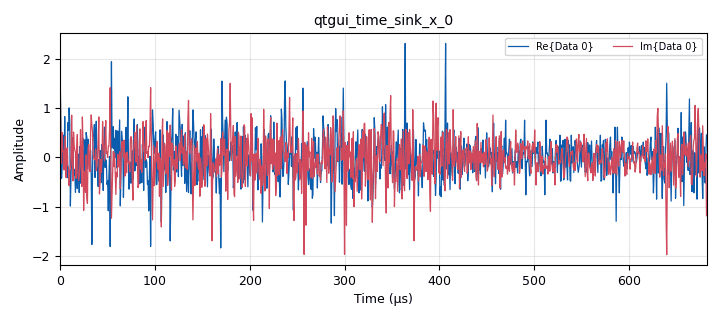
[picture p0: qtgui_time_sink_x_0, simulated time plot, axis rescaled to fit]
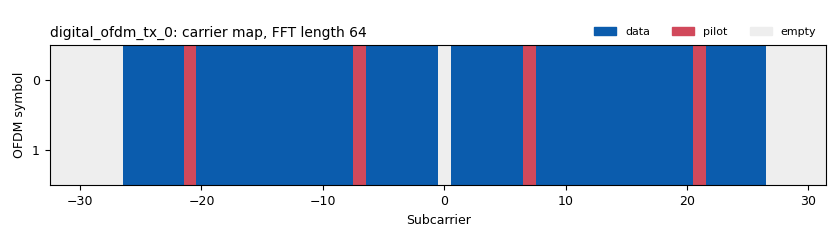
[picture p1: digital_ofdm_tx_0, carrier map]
<?xml version='1.0' encoding='utf-8'?>
<?grc format='1' created='3.7.9'?>
<flow_graph>
<block>
<key>options</key>
<param><key>id</key><value>full_duplex_ofdm</value></param>
<param><key>category</key><value>Custom</value></param>
<param><key>generate_options</key><value>qt_gui</value></param>
</block>
<block>
<key>variable_qtgui_range</key>
<param><key>id</key><value>atten</value></param>
<param><key>value</key><value>10</value></param>
<param><key>gui_hint</key><value>tab@1</value></param>
<param><key>orient</key><value>Qt.Horizontal</value></param>
<param><key>start</key><value>0</value></param>
<param><key>step</key><value>1</value></param>
<param><key>stop</key><value>30</value></param>
</block>
<block>
<key>variable_qtgui_range</key>
<param><key>id</key><value>bb_gain</value></param>
<param><key>value</key><value>0</value></param>
<param><key>gui_hint</key><value>tab@1</value></param>
<param><key>orient</key><value>Qt.Horizontal</value></param>
<param><key>start</key><value>0</value></param>
<param><key>step</key><value>1</value></param>
<param><key>stop</key><value>30</value></param>
</block>
<block>
<key>variable_qtgui_range</key>
<param><key>id</key><value>bw</value></param>
<param><key>value</key><value>1500000</value></param>
<param><key>gui_hint</key><value>tab@0</value></param>
<param><key>orient</key><value>Qt.Horizontal</value></param>
<param><key>start</key><value>100000</value></param>
<param><key>step</key><value>100000</value></param>
<param><key>stop</key><value>5000000</value></param>
<param><key>rangeType</key><value>int</value></param>
</block>
<block>
<key>variable</key>
<param><key>id</key><value>fft_len</value></param>
<param><key>value</key><value>64</value></param>
</block>
<block>
<key>variable_qtgui_chooser</key>
<param><key>id</key><value>freq</value></param>
<param><key>value</key><value>440000000</value></param>
<param><key>_enabled</key><value>0</value></param>
<param><key>label0</key><value>440M</value></param>
<param><key>label1</key><value>915M</value></param>
<param><key>label2</key><value>1.5G</value></param>
<param><key>label3</key><value>2.45G</value></param>
<param><key>num_opts</key><value>4</value></param>
<param><key>option0</key><value>440000000</value></param>
<param><key>option1</key><value>915000000</value></param>
<param><key>option2</key><value>1500000000</value></param>
<param><key>option3</key><value>2450000000</value></param>
<param><key>orient</key><value>Qt.QHBoxLayout</value></param>
<param><key>type</key><value>int</value></param>
<param><key>widget</key><value>radio_buttons</value></param>
</block>
<block>
<key>variable_qtgui_range</key>
<param><key>id</key><value>freq_1</value></param>
<param><key>value</key><value>440000000</value></param>
<param><key>gui_hint</key><value>tab@0</value></param>
<param><key>orient</key><value>Qt.Horizontal</value></param>
<param><key>start</key><value>300000000</value></param>
<param><key>step</key><value>10000000</value></param>
<param><key>stop</key><value>2500000000</value></param>
</block>
<block>
<key>variable_qtgui_range</key>
<param><key>id</key><value>freq_2</value></param>
<param><key>value</key><value>500000000</value></param>
<param><key>gui_hint</key><value>tab@0</value></param>
<param><key>orient</key><value>Qt.Horizontal</value></param>
<param><key>start</key><value>300000000</value></param>
<param><key>step</key><value>10000000</value></param>
<param><key>stop</key><value>2500000000</value></param>
</block>
<block>
<key>variable_qtgui_range</key>
<param><key>id</key><value>freq_offset</value></param>
<param><key>value</key><value>0</value></param>
<param><key>gui_hint</key><value>tab@0</value></param>
<param><key>orient</key><value>Qt.Horizontal</value></param>
<param><key>start</key><value>-5e3</value></param>
<param><key>step</key><value>100</value></param>
<param><key>stop</key><value>5e3</value></param>
</block>
<block>
<key>variable</key>
<param><key>id</key><value>header_equalizer</value></param>
<param><key>value</key><value>digital.ofdm_equalizer_simpledfe(fft_len, header_mod.base(), occupied_carriers, pilot_carriers, pilot_symbols)</value></param>
</block>
<block>
<key>variable</key>
<param><key>id</key><value>header_formatter</value></param>
<param><key>value</key><value>digital.packet_header_ofdm(occupied_carriers, n_syms=1, len_tag_key=packet_length_tag_key, frame_len_tag_key=length_tag_key, bits_per_header_sym=header_mod.bits_per_symbol(), bits_per_payload_sym=payload_mod.bits_per_symbol(), scramble_header=False)</value></param>
</block>
<block>
<key>variable</key>
<param><key>id</key><value>header_mod</value></param>
<param><key>value</key><value>digital.constellation_bpsk()</value></param>
</block>
<block>
<key>variable_qtgui_range</key>
<param><key>id</key><value>if_gain</value></param>
<param><key>value</key><value>0</value></param>
<param><key>gui_hint</key><value>tab@1</value></param>
<param><key>orient</key><value>Qt.Horizontal</value></param>
<param><key>start</key><value>0</value></param>
<param><key>step</key><value>1</value></param>
<param><key>stop</key><value>30</value></param>
</block>
<block>
<key>variable</key>
<param><key>id</key><value>length_tag_key</value></param>
<param><key>value</key><value>"packet_len"</value></param>
</block>
<block>
<key>variable</key>
<param><key>id</key><value>occupied_carriers</value></param>
<param><key>value</key><value>(range(-26, -21) + range(-20, -7) + range(-6, 0) + range(1, 7) + range(8, 21) + range(22, 27),)</value></param>
</block>
<block>
<key>variable</key>
<param><key>id</key><value>packet_len</value></param>
<param><key>value</key><value>96</value></param>
</block>
<block>
<key>variable</key>
<param><key>id</key><value>packet_length_tag_key</value></param>
<param><key>value</key><value>"packet_len"</value></param>
</block>
<block>
<key>variable</key>
<param><key>id</key><value>payload_equalizer</value></param>
<param><key>value</key><value>digital.ofdm_equalizer_simpledfe(fft_len, payload_mod.base(), occupied_carriers, pilot_carriers, pilot_symbols, 1)</value></param>
</block>
<block>
<key>variable</key>
<param><key>id</key><value>payload_mod</value></param>
<param><key>value</key><value>digital.constellation_qpsk()</value></param>
</block>
<block>
<key>variable</key>
<param><key>id</key><value>pilot_carriers</value></param>
<param><key>value</key><value>((-21, -7, 7, 21,),)</value></param>
</block>
<block>
<key>variable</key>
<param><key>id</key><value>pilot_symbols</value></param>
<param><key>value</key><value>((1, 1, 1, -1,),)</value></param>
</block>
<block>
<key>variable_qtgui_range</key>
<param><key>id</key><value>rf_gain</value></param>
<param><key>value</key><value>0</value></param>
<param><key>gui_hint</key><value>tab@1</value></param>
<param><key>orient</key><value>Qt.Horizontal</value></param>
<param><key>start</key><value>0</value></param>
<param><key>step</key><value>1</value></param>
<param><key>stop</key><value>30</value></param>
</block>
<block>
<key>variable</key>
<param><key>id</key><value>rolloff</value></param>
<param><key>value</key><value>0</value></param>
</block>
<block>
<key>variable_qtgui_range</key>
<param><key>id</key><value>samp_rate</value></param>
<param><key>value</key><value>1500000</value></param>
<param><key>gui_hint</key><value>tab@0</value></param>
<param><key>orient</key><value>Qt.Horizontal</value></param>
<param><key>start</key><value>100000</value></param>
<param><key>step</key><value>100000</value></param>
<param><key>stop</key><value>5000000</value></param>
<param><key>rangeType</key><value>int</value></param>
</block>
<block>
<key>variable</key>
<param><key>id</key><value>sync_word1</value></param>
<param><key>value</key><value>[0., 0., 0., 0., 0., 0., 0., 1.41421356, 0., -1.41421356, 0., 1.41421356, 0., -1.41421356, 0., -1.41421356, 0., -1.41421356, 0., 1.41421356, 0., -1.41421356, 0., 1.41421356, 0., -1.41421356, 0., -1.41421356, 0., -1.41421356, 0., -1.41421356, 0., 1.41421356, 0., -1.41421356, 0., 1.41421356, 0., 1.41421356, 0., 1.41421356, 0., -1.41421356, 0., 1.41421356, 0., 1.41421356, 0., 1.41421356, 0., -1.41421356, 0., 1.41421356, 0., 1.41421356, 0., 1.41421356, 0., 0., 0., 0., 0., 0.]</value></param>
</block>
<block>
<key>variable</key>
<param><key>id</key><value>sync_word2</value></param>
<param><key>value</key><value>[0j, 0j, 0j, 0j, 0j, 0j, (-1+0j), (-1+0j), (-1+0j), (-1+0j), (1+0j), (1+0j), (-1+0j), (-1+0j), (-1+0j), (1+0j), (-1+0j), (1+0j), (1+0j), (1 +0j), (1+0j), (1+0j), (-1+0j), (-1+0j), (-1+0j), (-1+0j), (-1+0j), (1+0j), (-1+0j), (-1+0j), (1+0j), (-1+0j), 0j, (1+0j), (-1+0j), (1+0j), (1+0j), (1+0j), (-1+0j), (1+0j), (1+0j), (1+0j), (-1+0j), (1+0j), (1+0j), (1+0j), (1+0j), (-1+0j), (1+0j), (-1+0j), (-1+0j), (-1+0j), (1+0j), (-1+0j), (1+0j), (-1+0j), (-1+0j), (-1+0j), (-1+0j), 0j, 0j, 0j, 0j, 0j]</value></param>
</block>
<block>
<key>variable_qtgui_chooser</key>
<param><key>id</key><value>tx_sel</value></param>
<param><key>value</key><value>1</value></param>
<param><key>_enabled</key><value>0</value></param>
<param><key>label0</key><value>PlutoSDR</value></param>
<param><key>label1</key><value>Osmocom</value></param>
<param><key>num_opts</key><value>2</value></param>
<param><key>option0</key><value>0</value></param>
<param><key>option1</key><value>1</value></param>
<param><key>type</key><value>int</value></param>
</block>
<block>
<key>blocks_multiply_const_vxx</key>
<param><key>id</key><value>blocks_multiply_const_vxx_0</value></param>
<param><key>const</key><value>0.05</value></param>
<param><key>type</key><value>complex</value></param>
</block>
<block>
<key>blocks_multiply_const_vxx</key>
<param><key>id</key><value>blocks_multiply_const_vxx_0_0</value></param>
<param><key>const</key><value>0.05</value></param>
<param><key>type</key><value>complex</value></param>
</block>
<block>
<key>blocks_stream_to_tagged_stream</key>
<param><key>id</key><value>blocks_stream_to_tagged_stream_0</value></param>
<param><key>len_tag_key</key><value>length_tag_key</value></param>
<param><key>packet_len</key><value>packet_len</value></param>
<param><key>type</key><value>byte</value></param>
</block>
<block>
<key>blocks_stream_to_tagged_stream</key>
<param><key>id</key><value>blocks_stream_to_tagged_stream_0_0</value></param>
<param><key>len_tag_key</key><value>length_tag_key</value></param>
<param><key>packet_len</key><value>packet_len</value></param>
<param><key>type</key><value>byte</value></param>
</block>
<block>
<key>blocks_tag_debug</key>
<param><key>id</key><value>blocks_tag_debug_0</value></param>
<param><key>_enabled</key><value>0</value></param>
<param><key>type</key><value>byte</value></param>
<param><key>name</key><value>Rx Packets</value></param>
</block>
<block>
<key>blocks_tag_debug</key>
<param><key>id</key><value>blocks_tag_debug_0_0</value></param>
<param><key>_enabled</key><value>0</value></param>
<param><key>type</key><value>byte</value></param>
<param><key>name</key><value>Rx Packets</value></param>
</block>
<block>
<key>blocks_uchar_to_float</key>
<param><key>id</key><value>blocks_uchar_to_float_0_0</value></param>
</block>
<block>
<key>blocks_uchar_to_float</key>
<param><key>id</key><value>blocks_uchar_to_float_0_0_0</value></param>
</block>
<block>
<key>blocks_udp_sink</key>
<param><key>id</key><value>blocks_udp_sink_0</value></param>
<param><key>ipaddr</key><value>udp_rx_ip</value></param>
<param><key>port</key><value>udp_rx_port</value></param>
<param><key>_enabled</key><value>0</value></param>
<param><key>type</key><value>byte</value></param>
<param><key>psize</key><value>1472</value></param>
<param><key>eof</key><value>True</value></param>
<param><key>vlen</key><value>1</value></param>
</block>
<block>
<key>blocks_udp_sink</key>
<param><key>id</key><value>blocks_udp_sink_0_0</value></param>
<param><key>ipaddr</key><value>udp_rx_ip</value></param>
<param><key>port</key><value>udp_rx_port</value></param>
<param><key>_enabled</key><value>0</value></param>
<param><key>type</key><value>byte</value></param>
<param><key>psize</key><value>1472</value></param>
<param><key>eof</key><value>True</value></param>
<param><key>vlen</key><value>1</value></param>
</block>
<block>
<key>blocks_udp_source</key>
<param><key>id</key><value>blocks_udp_source_0</value></param>
<param><key>_enabled</key><value>0</value></param>
<param><key>ipaddr</key><value>udp_tx_ip</value></param>
<param><key>eof</key><value>True</value></param>
<param><key>type</key><value>byte</value></param>
<param><key>psize</key><value>1472</value></param>
<param><key>port</key><value>udp_tx_port</value></param>
<param><key>vlen</key><value>1</value></param>
</block>
<block>
<key>blocks_udp_source</key>
<param><key>id</key><value>blocks_udp_source_0_0</value></param>
<param><key>_enabled</key><value>0</value></param>
<param><key>ipaddr</key><value>udp_tx_ip</value></param>
<param><key>eof</key><value>True</value></param>
<param><key>type</key><value>byte</value></param>
<param><key>psize</key><value>1472</value></param>
<param><key>port</key><value>udp_tx_port</value></param>
<param><key>vlen</key><value>1</value></param>
</block>
<block>
<key>blocks_vector_source_x</key>
<param><key>id</key><value>blocks_vector_source_x_0</value></param>
<param><key>type</key><value>byte</value></param>
<param><key>repeat</key><value>True</value></param>
<param><key>tags</key><value>()</value></param>
<param><key>vector</key><value>range(255)</value></param>
</block>
<block>
<key>blocks_vector_source_x</key>
<param><key>id</key><value>blocks_vector_source_x_0_0</value></param>
<param><key>type</key><value>byte</value></param>
<param><key>repeat</key><value>True</value></param>
<param><key>tags</key><value>()</value></param>
<param><key>vector</key><value>range(255)</value></param>
</block>
<block>
<key>digital_ofdm_rx</key>
<param><key>id</key><value>digital_ofdm_rx_0_1</value></param>
<param><key>cp_len</key><value>fft_len/4</value></param>
<param><key>fft_len</key><value>fft_len</value></param>
<param><key>header_mod</key><value>"BPSK"</value></param>
<param><key>occupied_carriers</key><value>occupied_carriers</value></param>
<param><key>packet_len_key</key><value>length_tag_key</value></param>
<param><key>payload_mod</key><value>"QPSK"</value></param>
<param><key>pilot_carriers</key><value>pilot_carriers</value></param>
<param><key>pilot_symbols</key><value>pilot_symbols</value></param>
<param><key>sync_word1</key><value>sync_word1</value></param>
<param><key>sync_word2</key><value>sync_word2</value></param>
</block>
<block>
<key>digital_ofdm_rx</key>
<param><key>id</key><value>digital_ofdm_rx_0_1_0</value></param>
<param><key>cp_len</key><value>fft_len/4</value></param>
<param><key>fft_len</key><value>fft_len</value></param>
<param><key>header_mod</key><value>"BPSK"</value></param>
<param><key>occupied_carriers</key><value>occupied_carriers</value></param>
<param><key>packet_len_key</key><value>length_tag_key</value></param>
<param><key>payload_mod</key><value>"QPSK"</value></param>
<param><key>pilot_carriers</key><value>pilot_carriers</value></param>
<param><key>pilot_symbols</key><value>pilot_symbols</value></param>
<param><key>sync_word1</key><value>sync_word1</value></param>
<param><key>sync_word2</key><value>sync_word2</value></param>
</block>
<block>
<key>digital_ofdm_tx</key>
<param><key>id</key><value>digital_ofdm_tx_0</value></param>
<param><key>cp_len</key><value>16</value></param>
<param><key>fft_len</key><value>64</value></param>
<param><key>header_mod</key><value>"BPSK"</value></param>
<param><key>packet_len_key</key><value>packet_length_tag_key</value></param>
<param><key>occupied_carriers</key><value>occupied_carriers</value></param>
<param><key>payload_mod</key><value>"QPSK"</value></param>
<param><key>pilot_carriers</key><value>pilot_carriers</value></param>
<param><key>pilot_symbols</key><value>pilot_symbols</value></param>
<param><key>rolloff</key><value>rolloff</value></param>
<param><key>sync_word1</key><value>sync_word1</value></param>
<param><key>sync_word2</key><value>sync_word2</value></param>
</block>
<block>
<key>digital_ofdm_tx</key>
<param><key>id</key><value>digital_ofdm_tx_0_0</value></param>
<param><key>cp_len</key><value>16</value></param>
<param><key>fft_len</key><value>64</value></param>
<param><key>header_mod</key><value>"BPSK"</value></param>
<param><key>packet_len_key</key><value>packet_length_tag_key</value></param>
<param><key>occupied_carriers</key><value>occupied_carriers</value></param>
<param><key>payload_mod</key><value>"QPSK"</value></param>
<param><key>pilot_carriers</key><value>pilot_carriers</value></param>
<param><key>pilot_symbols</key><value>pilot_symbols</value></param>
<param><key>rolloff</key><value>rolloff</value></param>
<param><key>sync_word1</key><value>sync_word1</value></param>
<param><key>sync_word2</key><value>sync_word2</value></param>
</block>
<block>
<key>osmosdr_sink</key>
<param><key>id</key><value>osmosdr_sink_0_0</value></param>
<param><key>bb_gain0</key><value>bb_gain</value></param>
<param><key>bw0</key><value>bw</value></param>
<param><key>freq0</key><value>freq_1</value></param>
<param><key>if_gain0</key><value>if_gain</value></param>
<param><key>gain0</key><value>rf_gain</value></param>
<param><key>args</key><value></value></param>
<param><key>_enabled</key><value>0</value></param>
<param><key>type</key><value>fc32</value></param>
<param><key>sample_rate</key><value>samp_rate</value></param>
<param><key>sync</key><value></value></param>
</block>
<block>
<key>osmosdr_sink</key>
<param><key>id</key><value>osmosdr_sink_0_0_0</value></param>
<param><key>bb_gain0</key><value>bb_gain</value></param>
<param><key>bw0</key><value>bw</value></param>
<param><key>freq0</key><value>freq_2</value></param>
<param><key>if_gain0</key><value>if_gain</value></param>
<param><key>gain0</key><value>rf_gain</value></param>
<param><key>args</key><value></value></param>
<param><key>type</key><value>fc32</value></param>
<param><key>sample_rate</key><value>samp_rate</value></param>
<param><key>sync</key><value></value></param>
</block>
<block>
<key>osmosdr_source</key>
<param><key>id</key><value>osmosdr_source_0</value></param>
<param><key>bb_gain0</key><value>bb_gain</value></param>
<param><key>bw0</key><value>bw</value></param>
<param><key>freq0</key><value>freq_1 + freq_offset</value></param>
<param><key>gain_mode0</key><value>False</value></param>
<param><key>if_gain0</key><value>if_gain</value></param>
<param><key>gain0</key><value>rf_gain</value></param>
<param><key>args</key><value></value></param>
<param><key>type</key><value>fc32</value></param>
<param><key>sample_rate</key><value>samp_rate</value></param>
<param><key>sync</key><value></value></param>
</block>
<block>
<key>osmosdr_source</key>
<param><key>id</key><value>osmosdr_source_0_0</value></param>
<param><key>bb_gain0</key><value>bb_gain</value></param>
<param><key>bw0</key><value>bw</value></param>
<param><key>freq0</key><value>freq_2</value></param>
<param><key>gain_mode0</key><value>False</value></param>
<param><key>if_gain0</key><value>if_gain</value></param>
<param><key>gain0</key><value>rf_gain</value></param>
<param><key>args</key><value></value></param>
<param><key>_enabled</key><value>0</value></param>
<param><key>type</key><value>fc32</value></param>
<param><key>sample_rate</key><value>samp_rate</value></param>
<param><key>sync</key><value></value></param>
</block>
<block>
<key>pluto_sink</key>
<param><key>id</key><value>pluto_sink_0_0</value></param>
<param><key>attenuation</key><value>atten</value></param>
<param><key>buffer_size</key><value>0x8000</value></param>
<param><key>cyclic</key><value>False</value></param>
<param><key>_enabled</key><value>0</value></param>
<param><key>auto_filter</key><value>True</value></param>
<param><key>filter</key><value></value></param>
<param><key>uri</key><value>ip:pluto.local</value></param>
<param><key>frequency</key><value>int(freq_2)</value></param>
<param><key>bandwidth</key><value>bw</value></param>
<param><key>samplerate</key><value>samp_rate</value></param>
</block>
<block>
<key>pluto_sink</key>
<param><key>id</key><value>pluto_sink_0_0_0</value></param>
<param><key>attenuation</key><value>atten</value></param>
<param><key>buffer_size</key><value>0x8000</value></param>
<param><key>cyclic</key><value>False</value></param>
<param><key>auto_filter</key><value>True</value></param>
<param><key>filter</key><value></value></param>
<param><key>uri</key><value>ip:pluto.local</value></param>
<param><key>frequency</key><value>freq_1</value></param>
<param><key>bandwidth</key><value>bw</value></param>
<param><key>samplerate</key><value>samp_rate</value></param>
</block>
<block>
<key>pluto_source</key>
<param><key>id</key><value>pluto_source_0</value></param>
<param><key>bbdc</key><value>True</value></param>
<param><key>buffer_size</key><value>0x8000</value></param>
<param><key>uri</key><value>ip:pluto.local</value></param>
<param><key>_enabled</key><value>0</value></param>
<param><key>auto_filter</key><value>True</value></param>
<param><key>filter</key><value></value></param>
<param><key>gain</key><value>"manual"</value></param>
<param><key>frequency</key><value>freq_1 + freq_offset</value></param>
<param><key>manual_gain</key><value>32</value></param>
<param><key>quadrature</key><value>True</value></param>
<param><key>rfdc</key><value>True</value></param>
<param><key>bandwidth</key><value>bw</value></param>
<param><key>samplerate</key><value>samp_rate</value></param>
</block>
<block>
<key>pluto_source</key>
<param><key>id</key><value>pluto_source_0_0</value></param>
<param><key>bbdc</key><value>True</value></param>
<param><key>buffer_size</key><value>0x8000</value></param>
<param><key>uri</key><value>ip:pluto.local</value></param>
<param><key>auto_filter</key><value>True</value></param>
<param><key>filter</key><value></value></param>
<param><key>gain</key><value>"manual"</value></param>
<param><key>frequency</key><value>freq_2 + freq_offset</value></param>
<param><key>manual_gain</key><value>32</value></param>
<param><key>quadrature</key><value>True</value></param>
<param><key>rfdc</key><value>True</value></param>
<param><key>bandwidth</key><value>bw</value></param>
<param><key>samplerate</key><value>samp_rate</value></param>
</block>
<block>
<key>qtgui_freq_sink_x</key>
<param><key>id</key><value>qtgui_freq_sink_x_0_0</value></param>
<param><key>bw</key><value>samp_rate</value></param>
<param><key>fc</key><value>freq_1 + freq_offset</value></param>
<param><key>_enabled</key><value>0</value></param>
<param><key>fftsize</key><value>512</value></param>
<param><key>label1</key><value>Rx Spectrum</value></param>
<param><key>name</key><value>Rx Spectrum</value></param>
<param><key>showports</key><value>True</value></param>
<param><key>type</key><value>complex</value></param>
<param><key>wintype</key><value>firdes.WIN_BLACKMAN_hARRIS</value></param>
</block>
<block>
<key>qtgui_freq_sink_x</key>
<param><key>id</key><value>qtgui_freq_sink_x_0_0_0</value></param>
<param><key>bw</key><value>samp_rate</value></param>
<param><key>fc</key><value>rx_freq + freq_offset</value></param>
<param><key>_enabled</key><value>0</value></param>
<param><key>fftsize</key><value>512</value></param>
<param><key>label1</key><value>Rx Spectrum</value></param>
<param><key>name</key><value>Rx Spectrum</value></param>
<param><key>showports</key><value>True</value></param>
<param><key>type</key><value>complex</value></param>
<param><key>wintype</key><value>firdes.WIN_BLACKMAN_hARRIS</value></param>
</block>
<block>
<key>qtgui_time_sink_x</key>
<param><key>id</key><value>qtgui_time_sink_x_0</value></param>
<param><key>color1</key><value>"blue"</value></param>
<param><key>label1</key><value></value></param>
<param><key>color2</key><value>"red"</value></param>
<param><key>label2</key><value></value></param>
<param><key>size</key><value>1024</value></param>
<param><key>srate</key><value>samp_rate</value></param>
<param><key>type</key><value>complex</value></param>
</block>
<block>
<key>qtgui_time_sink_x</key>
<param><key>id</key><value>qtgui_time_sink_x_0_0</value></param>
<param><key>autoscale</key><value>True</value></param>
<param><key>color1</key><value>"blue"</value></param>
<param><key>label1</key><value></value></param>
<param><key>name</key><value>RX1</value></param>
<param><key>size</key><value>1024</value></param>
<param><key>srate</key><value>samp_rate</value></param>
<param><key>type</key><value>float</value></param>
<param><key>update_time</key><value>0.5</value></param>
</block>
<block>
<key>qtgui_time_sink_x</key>
<param><key>id</key><value>qtgui_time_sink_x_0_0_0</value></param>
<param><key>autoscale</key><value>True</value></param>
<param><key>color1</key><value>"blue"</value></param>
<param><key>label1</key><value></value></param>
<param><key>name</key><value>RX2</value></param>
<param><key>size</key><value>1024</value></param>
<param><key>srate</key><value>samp_rate</value></param>
<param><key>type</key><value>float</value></param>
<param><key>update_time</key><value>0.5</value></param>
</block>
<block>
<key>rtlsdr_source</key>
<param><key>id</key><value>rtlsdr_source_0</value></param>
<param><key>bb_gain0</key><value>bb_gain</value></param>
<param><key>bw0</key><value>bw</value></param>
<param><key>dc_offset_mode0</key><value>2</value></param>
<param><key>freq0</key><value>freq_1 + freq_offset</value></param>
<param><key>gain_mode0</key><value>False</value></param>
<param><key>if_gain0</key><value>if_gain</value></param>
<param><key>iq_balance_mode0</key><value>2</value></param>
<param><key>gain0</key><value>rf_gain</value></param>
<param><key>args</key><value></value></param>
<param><key>_enabled</key><value>0</value></param>
<param><key>type</key><value>fc32</value></param>
<param><key>sample_rate</key><value>samp_rate</value></param>
<param><key>sync</key><value></value></param>
</block>
<block>
<key>rtlsdr_source</key>
<param><key>id</key><value>rtlsdr_source_0_0</value></param>
<param><key>bb_gain0</key><value>bb_gain</value></param>
<param><key>bw0</key><value>bw</value></param>
<param><key>dc_offset_mode0</key><value>2</value></param>
<param><key>freq0</key><value>freq_2 + freq_offset</value></param>
<param><key>gain_mode0</key><value>False</value></param>
<param><key>if_gain0</key><value>if_gain</value></param>
<param><key>iq_balance_mode0</key><value>2</value></param>
<param><key>gain0</key><value>rf_gain</value></param>
<param><key>args</key><value></value></param>
<param><key>_enabled</key><value>0</value></param>
<param><key>type</key><value>fc32</value></param>
<param><key>sample_rate</key><value>samp_rate</value></param>
<param><key>sync</key><value></value></param>
</block>
<block>
<key>qtgui_tab_widget</key>
<param><key>id</key><value>tab</value></param>
<param><key>label0</key><value>General</value></param>
<param><key>label1</key><value>Gains</value></param>
<param><key>num_tabs</key><value>2</value></param>
</block>
<block>
<key>parameter</key>
<param><key>id</key><value>udp_tx_ip</value></param>
<param><key>type</key><value>string</value></param>
<param><key>value</key><value>127.0.0.1</value></param>
</block>
<block>
<key>parameter</key>
<param><key>id</key><value>udp_tx_port</value></param>
<param><key>type</key><value>intx</value></param>
<param><key>value</key><value>9000</value></param>
</block>
<block>
<key>uhd_usrp_sink</key>
<param><key>id</key><value>uhd_usrp_sink_0</value></param>
<param><key>ant0</key><value></value></param>
<param><key>bw0</key><value>bw</value></param>
<param><key>center_freq0</key><value>freq_2</value></param>
<param><key>norm_gain0</key><value>False</value></param>
<param><key>gain0</key><value>0</value></param>
<param><key>clock_rate</key><value>0.0</value></param>
<param><key>dev_args</key><value>addr=192.168.10.2</value></param>
<param><key>_enabled</key><value>0</value></param>
<param><key>type</key><value>fc32</value></param>
<param><key>samp_rate</key><value>samp_rate</value></param>
<param><key>hide_cmd_port</key><value>False</value></param>
<param><key>sync</key><value></value></param>
<param><key>len_tag_name</key><value></value></param>
</block>
<block>
<key>uhd_usrp_source</key>
<param><key>id</key><value>uhd_usrp_source_0</value></param>
<param><key>ant0</key><value></value></param>
<param><key>bw0</key><value>bw</value></param>
<param><key>center_freq0</key><value>freq_1</value></param>
<param><key>dc_offs_enb0</key><value>""</value></param>
<param><key>iq_imbal_enb0</key><value>""</value></param>
<param><key>norm_gain0</key><value>False</value></param>
<param><key>gain0</key><value>0</value></param>
<param><key>clock_rate</key><value>0.0</value></param>
<param><key>dev_addr</key><value></value></param>
<param><key>dev_args</key><value>addr=192.168.10.2</value></param>
<param><key>_enabled</key><value>0</value></param>
<param><key>type</key><value>fc32</value></param>
<param><key>samp_rate</key><value>samp_rate</value></param>
<param><key>hide_cmd_port</key><value>False</value></param>
<param><key>sync</key><value></value></param>
</block>
<connection><source_block_id>blocks_multiply_const_vxx_0</source_block_id><sink_block_id>osmosdr_sink_0_0</sink_block_id><source_key>0</source_key><sink_key>0</sink_key></connection>
<connection><source_block_id>blocks_multiply_const_vxx_0</source_block_id><sink_block_id>pluto_sink_0_0_0</sink_block_id><source_key>0</source_key><sink_key>0</sink_key></connection>
<connection><source_block_id>blocks_multiply_const_vxx_0_0</source_block_id><sink_block_id>osmosdr_sink_0_0_0</sink_block_id><source_key>0</source_key><sink_key>0</sink_key></connection>
<connection><source_block_id>blocks_multiply_const_vxx_0_0</source_block_id><sink_block_id>pluto_sink_0_0</sink_block_id><source_key>0</source_key><sink_key>0</sink_key></connection>
<connection><source_block_id>blocks_multiply_const_vxx_0_0</source_block_id><sink_block_id>qtgui_time_sink_x_0</sink_block_id><source_key>0</source_key><sink_key>0</sink_key></connection>
<connection><source_block_id>blocks_multiply_const_vxx_0_0</source_block_id><sink_block_id>uhd_usrp_sink_0</sink_block_id><source_key>0</source_key><sink_key>0</sink_key></connection>
<connection><source_block_id>blocks_stream_to_tagged_stream_0</source_block_id><sink_block_id>digital_ofdm_tx_0</sink_block_id><source_key>0</source_key><sink_key>0</sink_key></connection>
<connection><source_block_id>blocks_stream_to_tagged_stream_0_0</source_block_id><sink_block_id>digital_ofdm_tx_0_0</sink_block_id><source_key>0</source_key><sink_key>0</sink_key></connection>
<connection><source_block_id>blocks_uchar_to_float_0_0</source_block_id><sink_block_id>qtgui_time_sink_x_0_0</sink_block_id><source_key>0</source_key><sink_key>0</sink_key></connection>
<connection><source_block_id>blocks_uchar_to_float_0_0_0</source_block_id><sink_block_id>qtgui_time_sink_x_0_0_0</sink_block_id><source_key>0</source_key><sink_key>0</sink_key></connection>
<connection><source_block_id>blocks_udp_source_0</source_block_id><sink_block_id>blocks_stream_to_tagged_stream_0</sink_block_id><source_key>0</source_key><sink_key>0</sink_key></connection>
<connection><source_block_id>blocks_udp_source_0_0</source_block_id><sink_block_id>blocks_stream_to_tagged_stream_0_0</sink_block_id><source_key>0</source_key><sink_key>0</sink_key></connection>
<connection><source_block_id>blocks_vector_source_x_0</source_block_id><sink_block_id>blocks_stream_to_tagged_stream_0</sink_block_id><source_key>0</source_key><sink_key>0</sink_key></connection>
<connection><source_block_id>blocks_vector_source_x_0_0</source_block_id><sink_block_id>blocks_stream_to_tagged_stream_0_0</sink_block_id><source_key>0</source_key><sink_key>0</sink_key></connection>
<connection><source_block_id>digital_ofdm_rx_0_1</source_block_id><sink_block_id>blocks_tag_debug_0</sink_block_id><source_key>0</source_key><sink_key>0</sink_key></connection>
<connection><source_block_id>digital_ofdm_rx_0_1</source_block_id><sink_block_id>blocks_uchar_to_float_0_0</sink_block_id><source_key>0</source_key><sink_key>0</sink_key></connection>
<connection><source_block_id>digital_ofdm_rx_0_1</source_block_id><sink_block_id>blocks_udp_sink_0</sink_block_id><source_key>0</source_key><sink_key>0</sink_key></connection>
<connection><source_block_id>digital_ofdm_rx_0_1_0</source_block_id><sink_block_id>blocks_tag_debug_0_0</sink_block_id><source_key>0</source_key><sink_key>0</sink_key></connection>
<connection><source_block_id>digital_ofdm_rx_0_1_0</source_block_id><sink_block_id>blocks_uchar_to_float_0_0_0</sink_block_id><source_key>0</source_key><sink_key>0</sink_key></connection>
<connection><source_block_id>digital_ofdm_rx_0_1_0</source_block_id><sink_block_id>blocks_udp_sink_0_0</sink_block_id><source_key>0</source_key><sink_key>0</sink_key></connection>
<connection><source_block_id>digital_ofdm_tx_0</source_block_id><sink_block_id>blocks_multiply_const_vxx_0</sink_block_id><source_key>0</source_key><sink_key>0</sink_key></connection>
<connection><source_block_id>digital_ofdm_tx_0_0</source_block_id><sink_block_id>blocks_multiply_const_vxx_0_0</sink_block_id><source_key>0</source_key><sink_key>0</sink_key></connection>
<connection><source_block_id>osmosdr_source_0</source_block_id><sink_block_id>digital_ofdm_rx_0_1</sink_block_id><source_key>0</source_key><sink_key>0</sink_key></connection>
<connection><source_block_id>osmosdr_source_0_0</source_block_id><sink_block_id>digital_ofdm_rx_0_1_0</sink_block_id><source_key>0</source_key><sink_key>0</sink_key></connection>
<connection><source_block_id>pluto_source_0</source_block_id><sink_block_id>digital_ofdm_rx_0_1</sink_block_id><source_key>0</source_key><sink_key>0</sink_key></connection>
<connection><source_block_id>pluto_source_0_0</source_block_id><sink_block_id>digital_ofdm_rx_0_1_0</sink_block_id><source_key>0</source_key><sink_key>0</sink_key></connection>
<connection><source_block_id>rtlsdr_source_0</source_block_id><sink_block_id>digital_ofdm_rx_0_1</sink_block_id><source_key>0</source_key><sink_key>0</sink_key></connection>
<connection><source_block_id>rtlsdr_source_0_0</source_block_id><sink_block_id>digital_ofdm_rx_0_1_0</sink_block_id><source_key>0</source_key><sink_key>0</sink_key></connection>
<connection><source_block_id>uhd_usrp_source_0</source_block_id><sink_block_id>digital_ofdm_rx_0_1</sink_block_id><source_key>0</source_key><sink_key>0</sink_key></connection>
</flow_graph>
